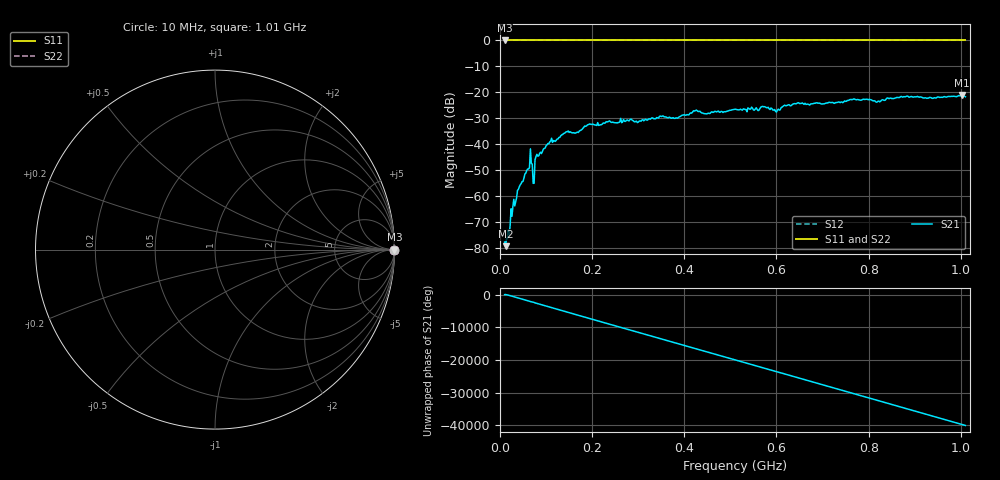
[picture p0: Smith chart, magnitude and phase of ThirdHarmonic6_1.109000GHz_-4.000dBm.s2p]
! 8/16/2025 10:31:28 AM
! C:\ANRITSUVNA\TEMP\TEMP.S2P
! CHANNEL.1
! TR.MEASUREMENT
! RAW.DATA
! RF.CORRECTION.OFF
! AVERAGING.OFF
! IF.BANDWIDTH: 5KHZ
! SWEEPTYPE:  FREQ.SWEEP(Linear)
! Reference Plane Port Info
! PORT:  PORT1  PORT2
! DISTANCE:  0  m  0  m
! TIME:  0  s  0  s
! PHASE.OFFSET:  0  deg.  0  deg.
! LOSS:  0  dB  0  dB
! REF.LOSS:  0  dB  0  dB
! REF.FREQ:  0  Hz  0  Hz
! Power Info
! POWER:  -20  dBm  -20  dBm
! EFF.POWER:  -20  dBm  -20  dBm
! SOURCE.ATTEN:  0  dB  0  dB
! TEST.ATTEN:  0  dB  0  dB
# GHZ S RI R 50.0
! FREQ.GHZ  S11RE  S11IM  S21RE  S21IM  S12RE  S12IM  S22RE  S22IM
!; PortSelection: Port_12
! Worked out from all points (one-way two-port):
!   501 points, 10 MHz to 1.01 GHz, reference 50 ohm
!   highest |S21| = -20.98 dB at 1.002 GHz (marker M1); lowest = -79.2 dB at 12 MHz (marker M2)
!   lowest |S11| = 0.0 dB at 10 MHz (marker M3)
!   |S11| at or under -10 dB: nowhere
!   |S22| runs from 0.0 to 0.0 dB; largest |S21 - S12| = 1.1
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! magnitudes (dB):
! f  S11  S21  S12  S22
! 10 MHz  0.0  -77.6  0.0  0.0
! 12 MHz  0.0  -79.2  0.0  0.0
! 18 MHz  0.0  -73.0  0.0  0.0
! 28 MHz  0.0  -63.9  0.0  0.0
! 42 MHz  0.0  -56.3  0.0  0.0
! 64 MHz  0.0  -48.9  0.0  0.0
! 72 MHz  0.0  -55.0  0.0  0.0
! 76 MHz  0.0  -45.9  0.0  0.0
! 80 MHz  0.0  -43.8  0.0  0.0
! 108 MHz  0.0  -39.1  0.0  0.0
! 144 MHz  0.0  -35.1  0.0  0.0
! 178 MHz  0.0  -34.3  0.0  0.0
! 194 MHz  0.0  -32.2  0.0  0.0
! 344 MHz  0.0  -29.9  0.0  0.0
! 510 MHz  0.0  -26.5  0.0  0.0
! 572 MHz  0.0  -25.6  0.0  0.0
! 602 MHz  0.0  -26.8  0.0  0.0
! 644 MHz  0.0  -24.2  0.0  0.0
! 678 MHz  0.0  -24.4  0.0  0.0
! 844 MHz  0.0  -22.4  0.0  0.0
! 1.002 GHz  0.0  -21.0  0.0  0.0
! 1.01 GHz  0.0  -21.7  0.0  0.0
